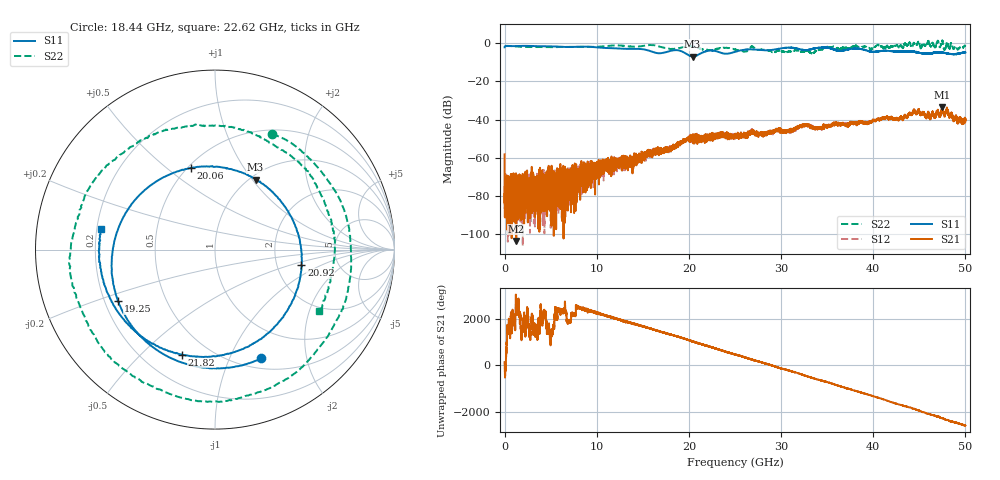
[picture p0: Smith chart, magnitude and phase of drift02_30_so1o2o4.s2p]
!Created with skrf (http://scikit-rf.org).
# Hz S RI R 50.0
!freq ReS11 ImS11 ReS21 ImS21 ReS12 ImS12 ReS22 ImS22
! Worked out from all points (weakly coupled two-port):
!   10001 points, 300 kHz to 50 GHz, reference 50 ohm
!   highest |S21| = -33.56 dB at 47.51 GHz (marker M1); lowest = -103.8 dB at 1.265 GHz (marker M2)
!   lowest |S11| = -6.9 dB at 20.4 GHz (marker M3), VSWR 2.64, Z = 53.1 + j51.9 ohm
!   |S11| at or under -10 dB: nowhere
!   |S22| runs from -5.3 to 1.5 dB; largest |S21 - S12| = 0.0041
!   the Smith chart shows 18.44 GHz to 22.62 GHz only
!   S11 on the Smith chart (normalised r, x): 18.44 GHz: 0.62, -1.32; 19.25 GHz: 0.26, -0.23; 20.06 GHz: 0.52, +0.61; 20.92 GHz: 2.76, -0.61; 21.82 GHz: 0.36, -0.67; 22.62 GHz: 0.22, +0.09
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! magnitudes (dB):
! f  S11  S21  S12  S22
! 300 kHz  -2.1  -58.2  -62.1  -1.3
! 255.3 MHz  -1.4  -69.3  -71.4  -1.4
! 1.265 GHz  -1.4  -103.8  -74.4  -1.6
! 4.615 GHz  -1.6  -75.5  -71.3  -2.0
! 8.335 GHz  -1.7  -70.9  -71.2  -1.9
! 16.67 GHz  -5.2  -56.8  -55.8  -1.5
! 18.44 GHz  -3.6  -54.6  -53.7  -2.9
! 19.25 GHz  -4.3  -51.7  -51.9  -2.1
! 20.06 GHz  -6.5  -49.2  -49.4  -1.5
! 20.4 GHz  -6.9  -48.4  -49.2  -1.7
! 20.92 GHz  -6.2  -49.2  -50.5  -2.2
! 21.82 GHz  -4.2  -51.3  -49.6  -3.5
! 22.62 GHz  -3.8  -48.7  -49.0  -3.4
! 25 GHz  -4.5  -47.5  -49.3  -3.3
! 26.11 GHz  -3.3  -49.2  -48.2  -4.3
! 26.9 GHz  -3.2  -46.6  -47.0  -1.7
! 33.34 GHz  -3.0  -43.8  -43.5  -5.2
! 34.89 GHz  -2.2  -43.1  -43.2  -2.3
! 41.67 GHz  -4.0  -39.1  -39.2  -2.1
! 44.62 GHz  -4.7  -36.7  -36.7  -0.6
! 47.51 GHz  -4.8  -33.6  -33.4  1.4
! 50 GHz  -4.7  -41.0  -40.8  -1.5
